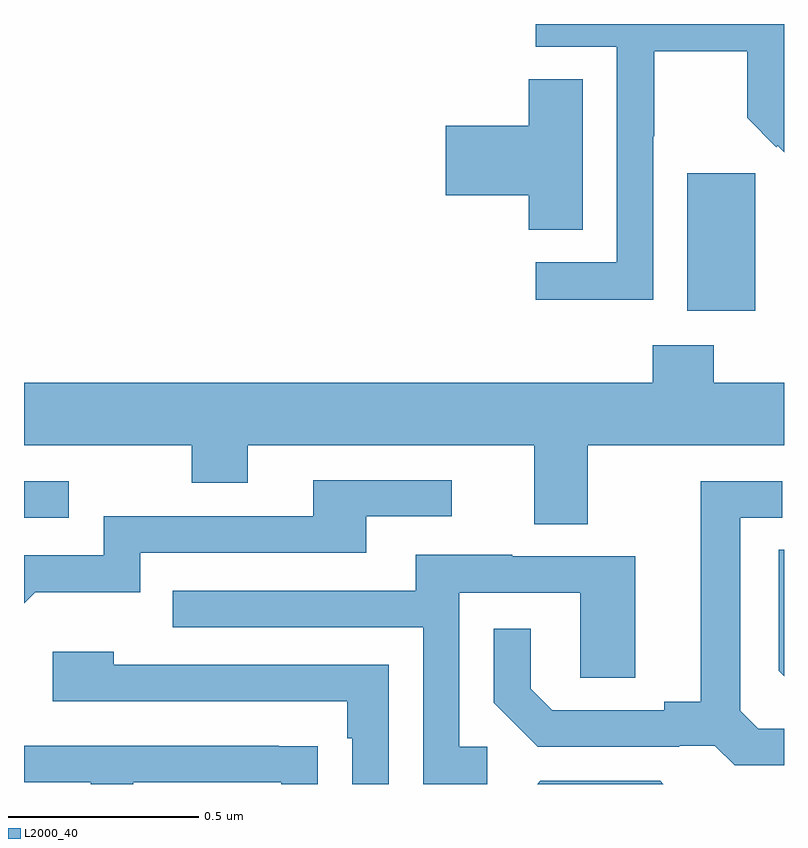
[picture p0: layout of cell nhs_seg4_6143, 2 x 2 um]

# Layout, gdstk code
import gdstk
lib = gdstk.Library(unit=1e-6, precision=1e-09)
def R(c, l, rs):  # rectangles x0, y0, x1, y1
    for r in rs: c.add(gdstk.rectangle(r[:2], r[2:], *l))
def P(c, l, *ps):  # polygons
    for p in ps: c.add(gdstk.Polygon(p, *l))
L2000_40 = (2000, 40)

nhs_seg4_6143 = lib.new_cell('nhs_seg4_6143')
R(nhs_seg4_6143, L2000_40, [(186,824.601,186.118,824.697), (187.745,825.146,187.924,825.507)])
P(nhs_seg4_6143, L2000_40, [(187.656,825.604),(187.659,825.604),(187.659,825.828),(187.903,825.828),(187.903,825.653),(187.98,825.576),(187.983,825.579),(188,825.562),(188,825.9),(187.347,825.9),(187.347,825.84),(187.56,825.84),(187.56,825.273),(187.347,825.273),(187.347,825.175),(187.656,825.175)],
  [(187.471,825.755),(187.328,825.755),(187.328,825.632),(187.11,825.632),(187.11,825.449),(187.328,825.449),(187.328,825.358),(187.471,825.358)],
  [(187.483,824.792),(188,824.792),(188,824.956),(187.815,824.956),(187.815,825.055),(187.655,825.055),(187.655,824.956),(186,824.956),(186,824.792),(186.442,824.792),(186.442,824.693),(186.589,824.693),(186.589,824.792),(187.343,824.792),(187.343,824.584),(187.483,824.584)],
  [(186.029,824.405),(186.306,824.405),(186.306,824.508),(186.901,824.508),(186.901,824.604),(187.126,824.604),(187.126,824.7),(186.761,824.7),(186.761,824.604),(186.21,824.604),(186.21,824.502),(186,824.502),(186,824.376)],
  [(188,824.046),(187.932,824.046),(187.885,824.093),(187.885,824.601),(187.996,824.601),(187.996,824.697),(187.781,824.697),(187.781,824.117),(187.685,824.117),(187.685,824.094),(187.39,824.094),(187.333,824.151),(187.333,824.308),(187.236,824.308),(187.236,824.114),(187.352,823.998),(187.724,823.998),(187.724,824.001),(187.818,824.001),(187.87,823.949),(188,823.949)],
  [(188,824.516),(187.986,824.516),(187.986,824.198),(188,824.184)],
  [(187.219,823.998),(187.146,823.998),(187.146,824.403),(187.464,824.403),(187.464,824.179),(187.609,824.179),(187.609,824.499),(187.285,824.499),(187.285,824.503),(187.031,824.503),(187.031,824.409),(186.391,824.409),(186.391,824.313),(187.05,824.313),(187.05,823.9),(187.219,823.9)],
  [(186.96,824.214),(186.236,824.214),(186.236,824.248),(186.075,824.248),(186.075,824.118),(186.851,824.118),(186.851,824.021),(186.864,824.021),(186.864,823.9),(186.96,823.9)],
  [(186.287,823.905),(186.677,823.905),(186.677,823.9),(186.773,823.9),(186.773,824),(186.671,824),(186.671,824.001),(186,824.001),(186,823.905),(186.175,823.905),(186.175,823.9),(186.287,823.9)],
  [(187.674,823.908),(187.359,823.908),(187.351,823.9),(187.682,823.9)])

lib.write_gds('nhs_seg4_6143.gds')
